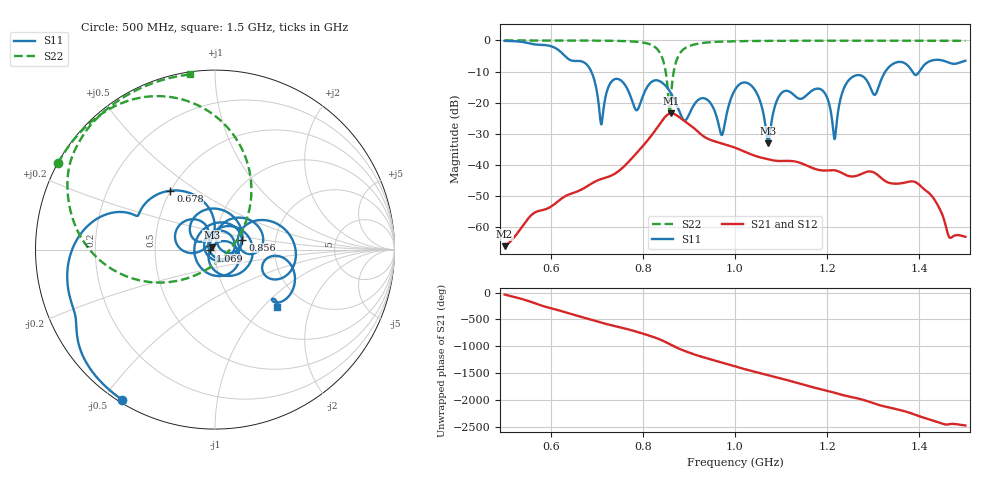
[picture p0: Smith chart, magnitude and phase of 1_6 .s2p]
! TOUCHSTONE file generated by CST MICROWAVE STUDIO
! Date and time: Tue Nov 24 13:46:55 2020
! Project name: Scenario_1_Planar_Body_Tissue_Out_of_Line.cst
! Parameters = {dy1=346; L_HA=400; Ltissue=700; MT=2.54; Rad_Dielectric=30; Rad_Lower=7.3; Rad_Upper=30; Wtissue=700; a_HA=580; a_WG=246; b_HA=500; b_WG=121; c_HA=0; c_WG=187; d_feed=85; dx1=1039; h_feed=15; h_lower=18; h_upper=40; hfat=3; hgap=25; hmuscle=50; hskin=1.5}
! Header version: 2018
! Port assignment regex: !\s*Touchstone port\s*([0-9]+)\s*=\s*(CST MWS port|CST DS port)\s*([0-9]+|Zmin|Zmax)\s*\(\"(.*)\"\)(\s*mode\s*([0-9]+))?.*
! Touchstone port assignment:
! Touchstone port 1 = CST MWS port 1 ("")
! Touchstone port 2 = CST MWS port 2 ("")
# GHz S DB R 50
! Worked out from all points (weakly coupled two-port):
!   1003 points, 500 MHz to 1.5 GHz, reference 50 ohm
!   highest |S21| = -23.44 dB at 862 MHz (marker M1); lowest = -66.1 dB at 500 MHz (marker M2)
!   lowest |S11| = -33.1 dB at 1.072 GHz (marker M3), VSWR 1.05, Z = 48.3 + j1.31 ohm
!   |S11| at or under -10 dB: 688.1 MHz to 1.326 GHz (638.3 MHz wide, 63.4 % of centre); 1.385 GHz to 1.4 GHz (15.15 MHz wide, 1.09 % of centre)
!   |S22| runs from -24.3 to 0.0 dB; largest |S21 - S12| = 4.9e-05
!   S11 on the Smith chart (normalised r, x): 500 MHz: 0.01, -0.56; 678 MHz: 0.50, +0.39; 856 MHz: 1.35, +0.15; 1.069 GHz: 0.94, -0.01; 1.5 GHz: 1.47, -1.21
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0.5  -0.14 -121.7  -66.12 -35.0  -66.12 -35.0  -0.01 151.2
0.667  -6.73 143.1  -47.91 -94.5  -47.91 -94.5  -0.04 138.4
0.678  -7.71 127.1  -46.98 -120.1  -46.98 -120.1  -0.05 137.3
0.71  -27.00 144.6  -44.53 160.6  -44.53 160.6  -0.08 133.6
0.737  -12.59 161.7  -43.03 101.1  -43.03 101.1  -0.13 129.8
0.786  -22.44 131.1  -36.28 -7.4  -36.28 -7.4  -0.42 118.4
0.834  -12.93 81.9  -27.40 -142.6  -27.40 -142.6  -3.29 84.2
0.856  -15.81 19.9  -23.65 129.6  -23.65 129.6  -19.97 11.2
0.862  -17.24 1.4  -23.44 102.7  -23.44 102.7  -16.29 -122.0
0.886  -25.06 -103.0  -25.42 9.0  -25.42 9.0  -3.15 -179.7
0.935  -18.68 23.9  -31.14 -133.5  -31.12 -133.5  -0.73 153.0
0.971  -30.41 -146.1  -33.09 138.9  -33.09 138.9  -0.38 144.7
1  -15.86 53.4  -34.47 65.1  -34.46 65.1  -0.27 140.3
1.041  -15.45 -60.3  -36.95 -31.9  -36.95 -31.9  -0.18 135.4
1.069  -30.82 -170.4  -38.10 -93.4  -38.10 -93.4  -0.15 132.6
1.072  -33.06 142.4  -38.21 -100.0  -38.21 -100.0  -0.14 132.3
1.101  -16.89 -18.4  -38.75 -163.2  -38.75 -163.2  -0.12 129.7
1.167  -16.14 76.3  -40.94 39.5  -40.94 39.5  -0.10 124.2
1.216  -31.74 30.9  -41.75 -67.5  -41.75 -67.5  -0.09 120.4
1.247  -12.76 50.5  -43.59 -136.8  -43.59 -136.7  -0.08 118.1
1.334  -8.58 22.9  -45.76 18.6  -45.76 18.6  -0.09 111.5
1.5  -6.53 -42.5  -63.12 42.4  -63.12 42.4  -0.13 98.0
